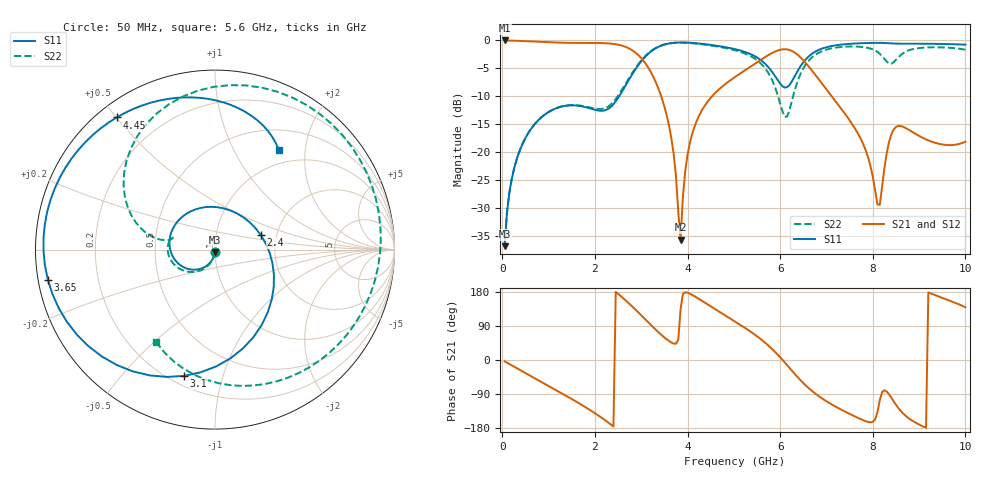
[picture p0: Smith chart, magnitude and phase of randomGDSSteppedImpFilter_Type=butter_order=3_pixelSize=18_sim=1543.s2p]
! freq	dB(S11)	phase(S11)	dB(S12)	phase(S12)
!  dB(S21)	phase(S21)	dB(S22)	phase(S22)
!S-par simulation data
#  GHz  S  DB  R 50
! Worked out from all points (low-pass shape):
!   200 points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, 50 MHz to 10 GHz, reference 50 ohm
!   highest |S21| = -0.01 dB at 50 MHz (marker M1); lowest = -35.7 dB at 3.85 GHz (marker M2)
!   |S21| within 3 dB of the highest: start of sweep to 2.981 GHz; 5.671 GHz to 6.435 GHz (763.8 MHz wide, 12.6 % of centre)
!   lowest |S11| = -36.8 dB at 50 MHz (marker M3), VSWR 1.03, Z = 49.9 - j1.43 ohm
!   |S11| at or under -10 dB: start of sweep to 2.523 GHz
!   |S22| runs from -36.8 to -0.4 dB; largest |S21 - S12| = 0
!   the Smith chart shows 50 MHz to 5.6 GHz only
!   S11 on the Smith chart (normalised r, x): 50 MHz: 1.00, -0.03; 2.4 GHz: 1.66, +0.28; 3.1 GHz: 0.25, -0.75; 3.65 GHz: 0.03, -0.09; 4.45 GHz: 0.05, +0.50; 5.6 GHz: 0.78, +1.53
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0.05  -36.85 -92.8  -0.01 -3.5  -0.01 -3.5  -36.84 -92.4
0.5  -17.47 -127.0  -0.13 -34.5  -0.13 -34.5  -17.47 -122.8
1.75  -11.87 127.9  -0.46 -121.1  -0.46 -121.1  -11.76 169.3
2.4  -11.43 17.3  -0.62 -175.4  -0.62 -175.4  -10.99 169.3
3.1  -2.81 -103.7  -4.23 105.6  -4.23 105.6  -2.70 129.8
3.4  -1.04 -142.6  -9.26 70.2  -9.26 70.2  -1.00 96.1
3.65  -0.48 -169.8  -17.48 46.2  -17.48 46.2  -0.48 68.2
3.85  -0.37 171.5  -35.69 133.8  -35.69 133.8  -0.40 47.1
4.05  -0.42 155.1  -18.38 175.1  -18.38 175.1  -0.47 27.0
4.45  -0.75 126.6  -10.79 145.6  -10.79 145.6  -0.84 -10.8
5.05  -1.61 89.5  -6.41 99.9  -6.41 99.9  -1.82 -64.8
5.6  -3.63 57.4  -3.38 53.2  -3.38 53.2  -4.28 -122.3
6.15  -8.38 63.8  -1.61 -13.5  -1.61 -13.5  -13.63 81.3
6.7  -2.31 57.8  -5.53 -82.9  -5.53 -82.9  -2.94 -58.0
7.3  -0.77 23.6  -12.02 -129.8  -12.02 -129.8  -1.19 -117.1
7.9  -0.46 -3.7  -20.98 -163.4  -20.98 -163.4  -1.35 -176.7
8.15  -0.44 -14.1  -29.47 -106.7  -29.47 -106.7  -2.39 132.7
8.35  -0.51 -22.0  -18.22 -90.2  -18.22 -90.2  -4.12 47.3
8.5  -0.58 -27.2  -15.50 -118.1  -15.50 -118.1  -3.49 -29.4
8.75  -0.58 -35.5  -15.88 -151.3  -15.88 -151.3  -1.87 -98.0
9.25  -0.60 -52.1  -18.06 175.9  -18.06 175.9  -1.24 -151.7
10  -0.76 -75.9  -18.13 139.1  -18.13 139.1  -1.68 155.5
